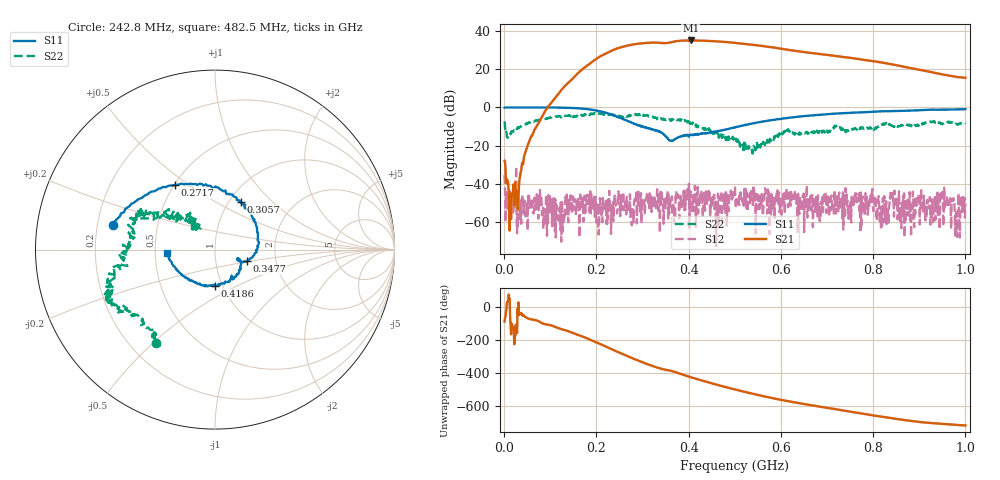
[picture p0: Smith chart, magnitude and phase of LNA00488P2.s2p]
! Created with skrf 1.9.0 (http://scikit-rf.org).
# Hz S RI R 50.0
!freq ReS11 ImS11 ReS21 ImS21 ReS12 ImS12 ReS22 ImS22
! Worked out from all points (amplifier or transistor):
!   1001 points, 1 MHz to 1 GHz, reference 50 ohm
!   highest |S21| = 35.0 dB at 404.6 MHz (marker M1)
!   |S21| within 3 dB of that: 262.7 MHz to 562.9 MHz (300.2 MHz wide, 72.7 % of centre)
!   unconditionally stable (mu >= 1): 239.9 MHz to 286.6 MHz; 311.7 MHz to 400.4 MHz; 400.7 MHz to end of sweep (the widest 3 of 51)
!   at 166.8 MHz: K = 1.45, MAG = 30.6 dB, |S12| = -49.8 dB
!   at 500.5 MHz: K = 1.36, MAG = 34.2 dB, |S12| = -41.8 dB
!   at 1 GHz: K = 4.27, MAG = 23.7 dB, |S12| = -50.5 dB
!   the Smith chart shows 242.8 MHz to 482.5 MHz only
!   S11 on the Smith chart (normalised r, x): 242.8 MHz: 0.27, +0.11; 271.7 MHz: 0.50, +0.44; 305.7 MHz: 1.13, +0.67; 347.7 MHz: 1.42, -0.19; 418.6 MHz: 0.92, -0.38; 482.5 MHz: 0.58, -0.03
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1000000  0.9849 0.00742  0.00242 -0.0404  -0.0153 0.00804  0.3217 0.2943
1.08892e8  0.5264 -0.8466  -0.7597 -1.482  0.00416 -0.000799  0.4295 -0.3654
1.67833e8  -0.2234 -0.9065  -9.558 -0.741  -0.00124 -0.00416  0.0489 -0.6328
2.09791e8  -0.6735 -0.3976  -15.49 15.78  0.00129 -0.000943  -0.1936 -0.6558
2.42758e8  -0.5685 0.1376  -1.33 33.93  0.000932 -0.00261  -0.3259 -0.5182
2.71729e8  -0.2245 0.3601  23.13 35.63  -0.00251 -0.000508  -0.4897 -0.3289
3.05695e8  0.1449 0.2674  45.39 15.9  -0.000442 0.00227  -0.5819 -0.1893
3.34666e8  0.2354 0.0185  48.56 -8.109  0.000617 0.00188  -0.5241 -0.0517
3.47653e8  0.1787 -0.0648  45.48 -15.82  -0.000216 0.00453  -0.4927 0.00391
3.73627e8  0.1428 -0.068  43.35 -32.56  0.000725 0.00647  -0.4584 0.17
4.04596e8  0.0737 -0.1802  23.38 -51.4  0.00176 0.0048  -0.3258 0.1885
4.18582e8  -0.000503 -0.2  12.29 -54.52  0.00282 0.00415  -0.2501 0.1796
4.46554e8  -0.1378 -0.1726  -9.206 -53.84  0.00101 -0.000932  -0.1484 0.1961
4.82518e8  -0.2658 -0.0214  -30.74 -40.75  0.000519 0.000601  -0.1164 0.131
5.005e8  -0.2843 0.0827  -37.69 -31.6  -0.000255 -0.00809  -0.131 0.0979
5.4046e8  -0.2412 0.3017  -42.09 -9.626  0.00803 -0.00124  -0.0986 0.0149
5.85415e8  -0.0727 0.4724  -35.48 9.452  -0.000428 -0.005  -0.1628 -0.0577
6.23377e8  0.1036 0.5371  -25.45 18.02  1.36e-05 -0.00386  -0.2128 -0.0556
6.67333e8  0.3103 0.5364  -14.4 21.99  -0.00168 0.00273  -0.2286 0.0104
7.55245e8  0.6256 0.3797  2.445 19.21  -0.00237 -0.00277  -0.2718 0.0531
8.34166e8  0.7845 0.1607  9.276 10.24  0.00194 -0.0015  -0.353 0.0599
1e9  0.8239 -0.3718  5.967 0.1124  -0.003 3.94e-05  -0.2065 0.3395
